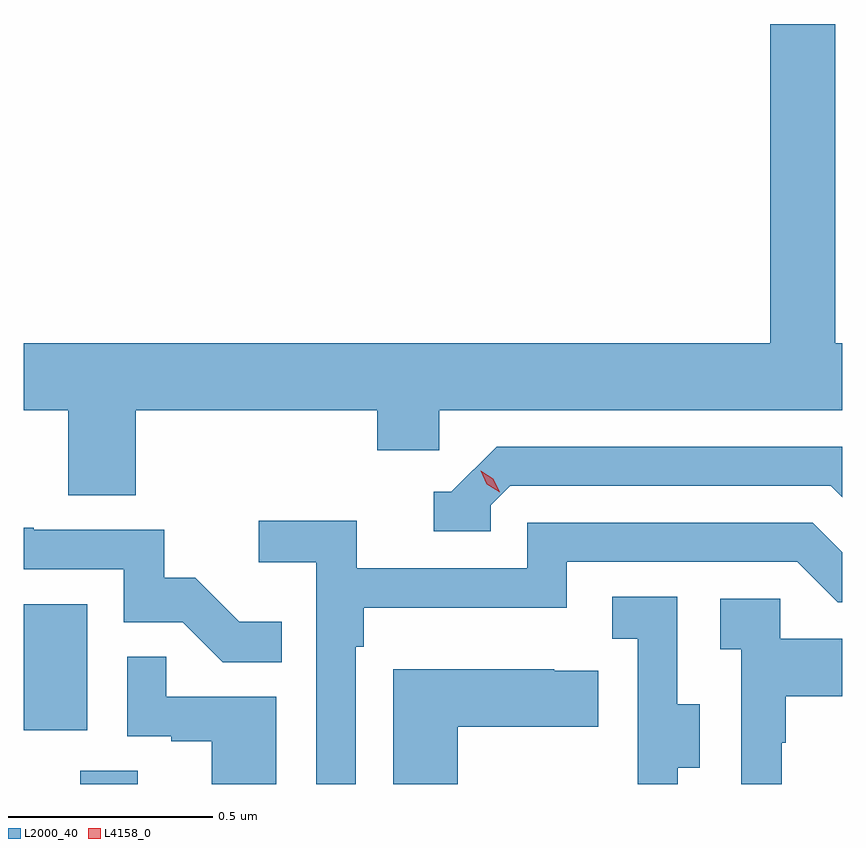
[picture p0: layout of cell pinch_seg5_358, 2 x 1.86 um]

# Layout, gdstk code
import gdstk
lib = gdstk.Library(unit=1e-6, precision=1e-09)
def R(c, l, rs):  # rectangles x0, y0, x1, y1
    for r in rs: c.add(gdstk.rectangle(r[:2], r[2:], *l))
def P(c, l, *ps):  # polygons
    for p in ps: c.add(gdstk.Polygon(p, *l))
L2000_40 = (2000, 40)
L4158_0 = (4158, 0)

pinch_seg5_358 = lib.new_cell('pinch_seg5_358')
R(pinch_seg5_358, L2000_40, [(953.123,878.49,953.263,878.522), (952.985,878.622,953.14,878.929)])
P(pinch_seg5_358, L2000_40, [(953.258,879.404),(953.849,879.404),(953.849,879.306),(954,879.306),(954,879.404),(954.985,879.404),(954.985,879.568),(954.969,879.568),(954.969,880.348),(954.809,880.348),(954.809,879.568),(952.985,879.568),(952.985,879.404),(953.093,879.404),(953.093,879.196),(953.258,879.196)],
  [(954.126,879.171),(954.174,879.219),(954.957,879.219),(954.985,879.191),(954.985,879.315),(954.141,879.315),(954.03,879.204),(953.987,879.204),(953.987,879.108),(954.126,879.108)],
  [(953.796,878.825),(953.816,878.825),(953.816,878.921),(954.312,878.921),(954.312,879.033),(954.876,879.033),(954.975,878.934),(954.985,878.934),(954.985,879.057),(954.913,879.129),(954.216,879.129),(954.216,879.018),(953.798,879.018),(953.798,879.134),(953.559,879.134),(953.559,879.032),(953.7,879.032),(953.7,878.49),(953.796,878.49)],
  [(953.615,878.887),(953.511,878.887),(953.404,878.994),(953.328,878.994),(953.328,879.111),(953.009,879.111),(953.009,879.116),(952.985,879.116),(952.985,879.015),(953.229,879.015),(953.229,878.886),(953.373,878.886),(953.471,878.788),(953.615,878.788)],
  [(954.583,878.53),(954.637,878.53),(954.637,878.685),(954.582,878.685),(954.582,878.948),(954.423,878.948),(954.423,878.845),(954.486,878.845),(954.486,878.541),(954.485,878.541),(954.485,878.49),(954.583,878.49)],
  [(954.837,878.591),(954.847,878.591),(954.847,878.705),(954.985,878.705),(954.985,878.845),(954.834,878.845),(954.834,878.943),(954.687,878.943),(954.687,878.819),(954.738,878.819),(954.738,878.49),(954.837,878.49)],
  [(953.602,878.703),(953.333,878.703),(953.333,878.801),(953.238,878.801),(953.238,878.607),(953.345,878.607),(953.345,878.595),(953.444,878.595),(953.444,878.49),(953.602,878.49)],
  [(954.046,878.63),(954.389,878.63),(954.389,878.767),(954.281,878.767),(954.281,878.77),(953.888,878.77),(953.888,878.49),(954.046,878.49)])
P(pinch_seg5_358, L4158_0, [(954.148,879.203),(954.117,879.223),(954.102,879.256),(954.102,879.256),(954.102,879.256),(954.132,879.236),(954.148,879.203),(954.148,879.203)])

lib.write_gds('pinch_seg5_358.gds')
